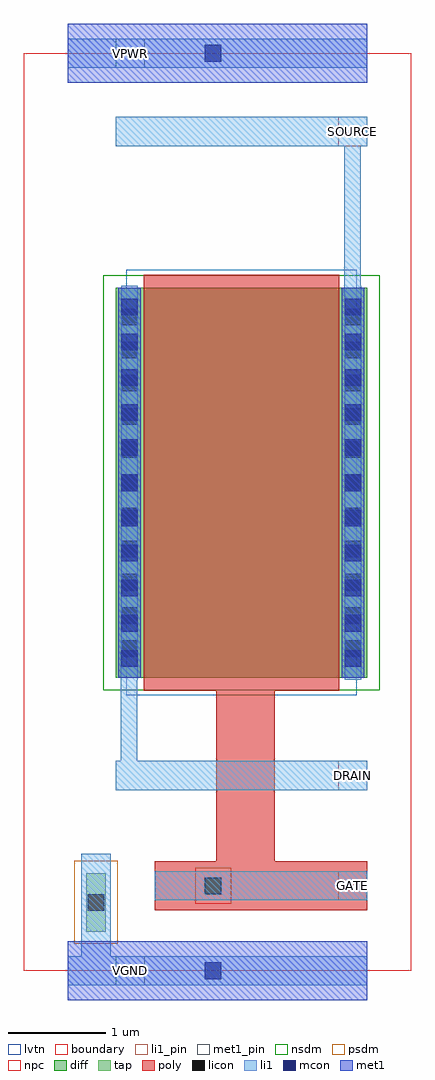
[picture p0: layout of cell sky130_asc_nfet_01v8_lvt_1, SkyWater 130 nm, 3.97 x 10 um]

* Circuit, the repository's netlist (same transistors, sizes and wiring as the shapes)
* NGSPICE file created from sky130_asc_nfet_01v8_lvt_1.ext - technology: sky130A

.subckt sky130_asc_nfet_01v8_lvt_1 GATE SOURCE DRAIN VPWR VGND
X0 SOURCE GATE DRAIN VGND sky130_fd_pr__nfet_01v8_lvt ad=1.16e+12p pd=8.58e+06u as=1.16e+12p ps=8.58e+06u w=4e+06u l=2e+06u
.ends

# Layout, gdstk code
import gdstk
lib = gdstk.Library(unit=1e-6, precision=1e-09)
def R(c, l, rs):  # rectangles x0, y0, x1, y1
    for r in rs: c.add(gdstk.rectangle(r[:2], r[2:], *l))
def A(c, l, x, y, w, h, nx, ny, dx, dy):  # array of equal rectangles
    R(c, l, [(x+i*dx, y+j*dy, x+i*dx+w, y+j*dy+h) for i in range(nx) for j in range(ny)])
diff = (65, 20)
tap = (65, 44)
poly = (66, 20)
licon = (66, 44)
li1_pin = (67, 16)
li1 = (67, 20)
mcon = (67, 44)
met1_pin = (68, 16)
met1 = (68, 20)
nsdm = (93, 44)
psdm = (94, 20)
npc = (95, 20)
lvtn = (125, 44)
boundary = (235, 4)

sky130_asc_nfet_01v8_lvt = lib.new_cell('sky130_asc_nfet_01v8_lvt_1')
R(sky130_asc_nfet_01v8_lvt, diff, [(0.94,3,3.52,7)])
R(sky130_asc_nfet_01v8_lvt, tap, [(0.64,0.4,0.84,1)])
R(sky130_asc_nfet_01v8_lvt, poly, [(1.34,0.62,3.52,1.12), (1.97,1.12,2.57,2.87), (1.23,2.87,3.23,7.13)])
A(sky130_asc_nfet_01v8_lvt, licon, 1, 3.215, 0.17, 0.17, 1, 11, 0, 0.34)
A(sky130_asc_nfet_01v8_lvt, licon, 3.29, 3.215, 0.17, 0.17, 1, 11, 0, 0.34)
R(sky130_asc_nfet_01v8_lvt, licon, [(0.655,0.615,0.825,0.785), (1.855,0.785,2.025,0.955)])
R(sky130_asc_nfet_01v8_lvt, li1_pin, [(3.22,0.72,3.52,1.02), (3.22,1.85,3.52,2.15), (3.22,8.45,3.52,8.75)])
R(sky130_asc_nfet_01v8_lvt, li1, [(0.45,-0.15,3.52,0.15), (0.59,0.15,0.89,1.2), (1.34,0.72,3.52,1.02), (0.94,1.85,3.52,2.15), (0.995,2.15,1.165,2.98), (0.995,2.98,1.17,3.27), (3.29,2.98,3.46,6.93), (1,3.27,1.17,7.02), (3.285,6.93,3.46,7.02), (3.285,7.02,3.455,8.45), (0.94,8.45,3.52,8.75), (0.45,9.25,3.52,9.55)])
A(sky130_asc_nfet_01v8_lvt, mcon, 1, 3.115, 0.17, 0.17, 1, 11, 0, 0.36)
A(sky130_asc_nfet_01v8_lvt, mcon, 3.29, 3.115, 0.17, 0.17, 1, 11, 0, 0.36)
R(sky130_asc_nfet_01v8_lvt, mcon, [(1.855,-0.085,2.025,0.085), (1.855,9.315,2.025,9.485)])
R(sky130_asc_nfet_01v8_lvt, met1_pin, [(0.94,-0.15,1.24,0.15), (0.94,9.25,1.24,9.55)])
R(sky130_asc_nfet_01v8_lvt, met1, [(0.45,-0.3,3.52,0.3), (0.97,3,1.2,7), (3.26,3,3.49,7), (0.45,9.1,3.52,9.7)])
R(sky130_asc_nfet_01v8_lvt, nsdm, [(0.815,2.875,3.645,7.125)])
R(sky130_asc_nfet_01v8_lvt, psdm, [(0.515,0.275,0.965,1.125)])
R(sky130_asc_nfet_01v8_lvt, npc, [(1.755,0.685,2.125,1.055)])
R(sky130_asc_nfet_01v8_lvt, lvtn, [(1.05,2.82,3.41,7.18)])
R(sky130_asc_nfet_01v8_lvt, boundary, [(0,0,3.97,9.4)])
sky130_asc_nfet_01v8_lvt.add(gdstk.Label('GATE', (3.37,0.87), layer=67, texttype=16))
sky130_asc_nfet_01v8_lvt.add(gdstk.Label('SOURCE', (3.37,8.6), layer=67, texttype=16))
sky130_asc_nfet_01v8_lvt.add(gdstk.Label('DRAIN', (3.37,2), layer=67, texttype=16))
sky130_asc_nfet_01v8_lvt.add(gdstk.Label('VPWR', (1.09,9.4), layer=68, texttype=16))
sky130_asc_nfet_01v8_lvt.add(gdstk.Label('VGND', (1.09,0), layer=68, texttype=16))

lib.write_gds('sky130_asc_nfet_01v8_lvt_1.gds')
